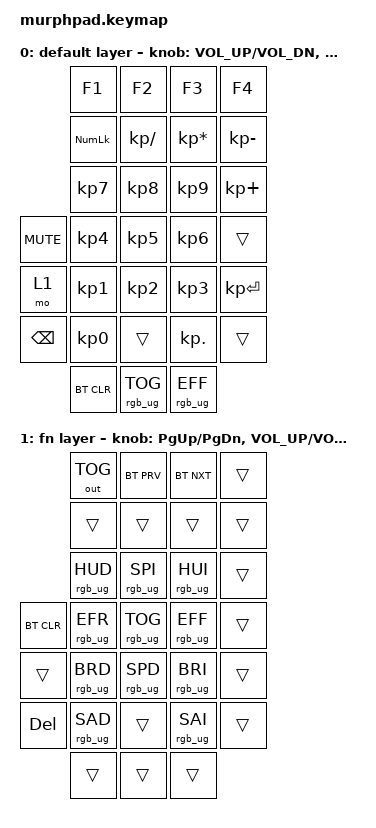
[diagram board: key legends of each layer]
/*
 * Copyright (c) 2023 The ZMK Contributors
 *
 * SPDX-License-Identifier: MIT
 */

#include <behaviors.dtsi>
#include <dt-bindings/zmk/keys.h>
#include <dt-bindings/zmk/bt.h>
#include <dt-bindings/zmk/outputs.h>
#include <dt-bindings/zmk/rgb.h>

#define TIMEOUT 50

/*
 * If you didn't build with one or more of the encoders:
 * 1. Delete the node you didn't use to disable it.
 * 2. Change the sensors node to only include the one you used.
*/

&middle_left_encoder {
    status = "okay";
};

&top_right_encoder {
    status = "okay";
};

&sensors {
    sensors = <&middle_left_encoder &top_right_encoder>;
};

/ {
    combos {
        compatible = "zmk,combos";
        combo_btclr {
            timeout-ms = <TIMEOUT>;
            key-positions = <0 4>;
            bindings = <&bt BT_CLR>;
        };
        combo_reset {
            timeout-ms = <TIMEOUT>;
            key-positions = <0 2>;
            bindings = <&sys_reset>;
        };
        combo_bootloader {
            timeout-ms = <TIMEOUT>;
            key-positions = <0 1>;
            bindings = <&bootloader>;
        };
        combo_bt_nxt {
            timeout-ms = <TIMEOUT>;
            key-positions = <0 3>;
            bindings = <&bt BT_NXT>;
        };
    };

    keymap {
        compatible = "zmk,keymap";

        default_layer {
            display-name = "default layer";
            bindings = <
                            &kp F1       &kp F2          &kp F3            &kp F4
                            &kp KP_NUM   &kp KP_DIVIDE   &kp KP_MULTIPLY   &kp KP_MINUS
                            &kp KP_N7    &kp KP_N8       &kp KP_N9         &kp KP_PLUS
                &kp C_MUTE  &kp KP_N4    &kp KP_N5       &kp KP_N6         &trans
                &mo 1       &kp KP_N1    &kp KP_N2       &kp KP_N3         &kp KP_ENTER
                &kp BSPC    &kp KP_N0    &trans          &kp KP_DOT        &trans

                            &bt BT_CLR   &rgb_ug RGB_TOG &rgb_ug RGB_EFF
            >;
            sensor-bindings = <&inc_dec_kp C_VOL_UP C_VOL_DN &inc_dec_kp PG_UP PG_DN>;

        };

        fn_layer {
            display-name = "fn layer";
            bindings = <
                            &out OUT_TOG     &bt BT_PRV       &bt BT_NXT       &trans
                            &trans           &trans           &trans           &trans
                            &rgb_ug RGB_HUD  &rgb_ug RGB_SPI  &rgb_ug RGB_HUI  &trans
                &bt BT_CLR  &rgb_ug RGB_EFR  &rgb_ug RGB_TOG  &rgb_ug RGB_EFF  &trans
                &trans      &rgb_ug RGB_BRD  &rgb_ug RGB_SPD  &rgb_ug RGB_BRI  &trans
                &kp DEL     &rgb_ug RGB_SAD  &trans           &rgb_ug RGB_SAI  &trans

                            &trans           &trans           &trans
            >;
            sensor-bindings = <&inc_dec_kp PG_UP PG_DN &inc_dec_kp C_VOL_UP C_VOL_DN>;

        };
    };
};
